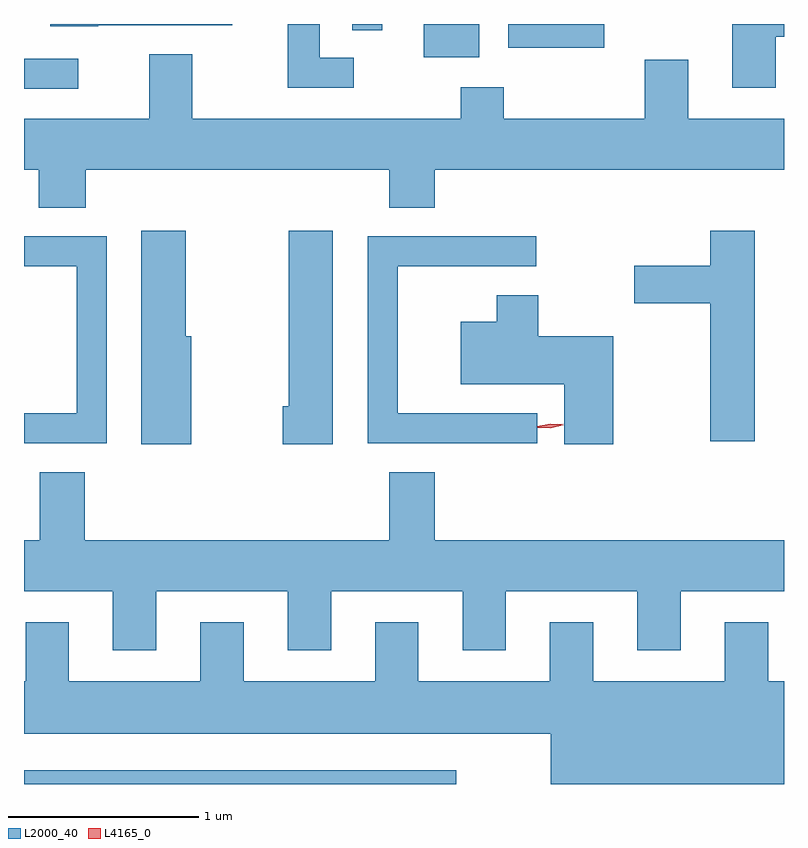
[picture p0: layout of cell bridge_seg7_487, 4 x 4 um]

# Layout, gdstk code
import gdstk
lib = gdstk.Library(unit=1e-6, precision=1e-09)
def R(c, l, rs):  # rectangles x0, y0, x1, y1
    for r in rs: c.add(gdstk.rectangle(r[:2], r[2:], *l))
def P(c, l, *ps):  # polygons
    for p in ps: c.add(gdstk.Polygon(p, *l))
L2000_40 = (2000, 40)
L4165_0 = (4165, 0)

bridge_seg7_487 = lib.new_cell('bridge_seg7_487')
R(bridge_seg7_487, L2000_40, [(1321.313,1722.182,1323.589,1722.254), (1321.313,1725.841,1321.598,1725.999), (1323.416,1726.006,1323.709,1726.182), (1323.861,1726.056,1324.368,1726.182), (1323.041,1726.148,1323.199,1726.182)])
P(bridge_seg7_487, L2000_40, [(1321.705,1726.176),(1322.409,1726.176),(1322.409,1726.182),(1321.451,1726.182),(1321.451,1726.171),(1321.705,1726.171)],
  [(1325.269,1726.116),(1325.313,1726.116),(1325.313,1726.182),(1325.041,1726.182),(1325.041,1725.846),(1325.269,1725.846)],
  [(1323.048,1726.004),(1322.869,1726.004),(1322.869,1726.182),(1322.701,1726.182),(1322.701,1725.846),(1323.048,1725.846)],
  [(1321.639,1725.416),(1323.236,1725.416),(1323.236,1725.216),(1323.474,1725.216),(1323.474,1725.416),(1325.313,1725.416),(1325.313,1725.684),(1324.809,1725.684),(1324.809,1725.994),(1324.581,1725.994),(1324.581,1725.684),(1323.839,1725.684),(1323.839,1725.849),(1323.611,1725.849),(1323.611,1725.684),(1322.199,1725.684),(1322.199,1726.024),(1321.971,1726.024),(1321.971,1725.684),(1321.313,1725.684),(1321.313,1725.416),(1321.391,1725.416),(1321.391,1725.216),(1321.639,1725.216)],
  [(1322.194,1724.539),(1322.164,1724.539),(1322.164,1725.094),(1321.931,1725.094),(1321.931,1723.971),(1322.194,1723.971)],
  [(1325.159,1725.094),(1324.926,1725.094),(1324.926,1724.909),(1324.526,1724.909),(1324.526,1724.711),(1324.926,1724.711),(1324.926,1723.986),(1325.159,1723.986)],
  [(1322.939,1725.094),(1322.706,1725.094),(1322.706,1724.169),(1322.676,1724.169),(1322.676,1723.971),(1322.939,1723.971)],
  [(1321.749,1725.064),(1321.313,1725.064),(1321.313,1724.906),(1321.591,1724.906),(1321.591,1724.134),(1321.313,1724.134),(1321.313,1723.976),(1321.749,1723.976)],
  [(1324.013,1724.134),(1323.279,1724.134),(1323.279,1724.906),(1324.008,1724.906),(1324.008,1725.064),(1323.121,1725.064),(1323.121,1723.976),(1324.013,1723.976)],
  [(1324.414,1724.539),(1324.019,1724.539),(1324.019,1724.754),(1323.801,1724.754),(1323.801,1724.614),(1323.611,1724.614),(1323.611,1724.286),(1324.156,1724.286),(1324.156,1723.971),(1324.414,1723.971)],
  [(1322.009,1723.196),(1322.701,1723.196),(1322.701,1722.886),(1322.929,1722.886),(1322.929,1723.196),(1323.621,1723.196),(1323.621,1722.886),(1323.849,1722.886),(1323.849,1723.196),(1324.541,1723.196),(1324.541,1722.886),(1324.769,1722.886),(1324.769,1723.196),(1325.313,1723.196),(1325.313,1723.464),(1323.474,1723.464),(1323.474,1723.824),(1323.236,1723.824),(1323.236,1723.464),(1321.634,1723.464),(1321.634,1723.824),(1321.396,1723.824),(1321.396,1723.464),(1321.313,1723.464),(1321.313,1723.196),(1321.781,1723.196),(1321.781,1722.886),(1322.009,1722.886)],
  [(1325.313,1722.724),(1325.229,1722.724),(1325.229,1723.034),(1325.001,1723.034),(1325.001,1722.724),(1324.309,1722.724),(1324.309,1723.034),(1324.081,1723.034),(1324.081,1722.724),(1323.389,1722.724),(1323.389,1723.034),(1323.161,1723.034),(1323.161,1722.724),(1322.469,1722.724),(1322.469,1723.034),(1322.241,1723.034),(1322.241,1722.724),(1321.549,1722.724),(1321.549,1723.034),(1321.321,1723.034),(1321.321,1722.724),(1321.313,1722.724),(1321.313,1722.446),(1324.086,1722.446),(1324.086,1722.182),(1325.313,1722.182)])
P(bridge_seg7_487, L4165_0, [(1324.083,1724.059),(1324.014,1724.063),(1324.014,1724.063),(1324.014,1724.064),(1324.082,1724.079),(1324.151,1724.076),(1324.152,1724.075),(1324.151,1724.075)],
  [(1324.084,1724.054),(1324.018,1724.058),(1324.017,1724.058),(1324.018,1724.059),(1324.083,1724.074),(1324.149,1724.071),(1324.15,1724.07),(1324.149,1724.07)])

lib.write_gds('bridge_seg7_487.gds')
